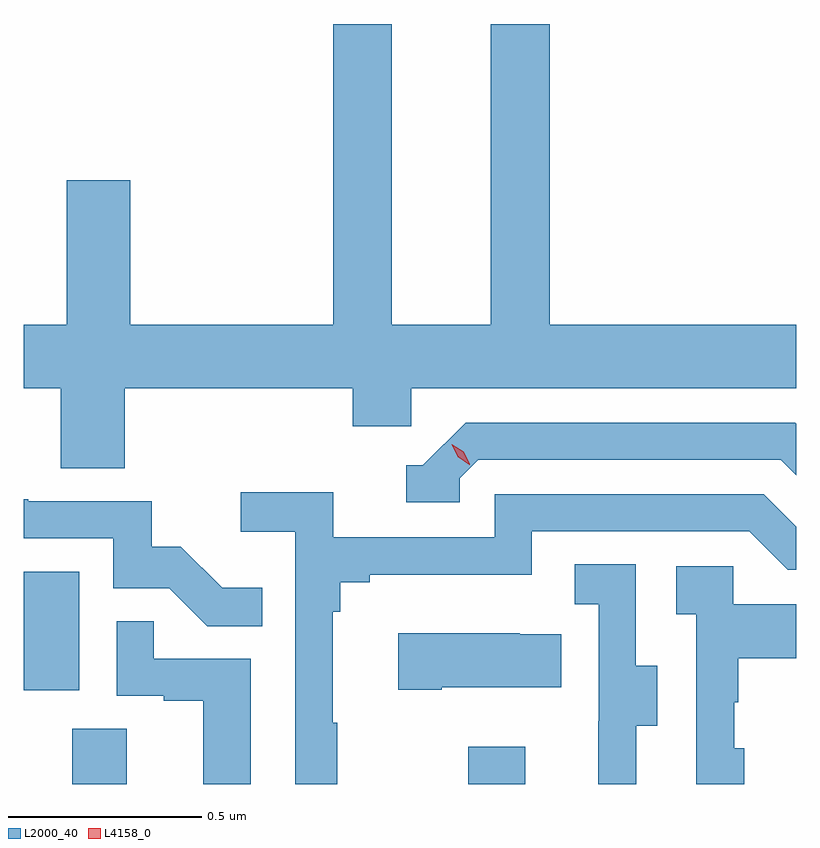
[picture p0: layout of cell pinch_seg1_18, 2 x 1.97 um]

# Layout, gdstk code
import gdstk
lib = gdstk.Library(unit=1e-6, precision=1e-09)
def R(c, l, rs):  # rectangles x0, y0, x1, y1
    for r in rs: c.add(gdstk.rectangle(r[:2], r[2:], *l))
def P(c, l, *ps):  # polygons
    for p in ps: c.add(gdstk.Polygon(p, *l))
L2000_40 = (2000, 40)
L4158_0 = (4158, 0)

pinch_seg1_18 = lib.new_cell('pinch_seg1_18')
R(pinch_seg1_18, L2000_40, [(1142.045,577.347,1142.185,577.49), (1143.07,577.347,1143.217,577.444), (1141.919,577.59,1142.062,577.897)])
P(pinch_seg1_18, L2000_40, [(1142.18,578.372),(1142.771,578.372),(1142.771,578.274),(1142.922,578.274),(1142.922,578.372),(1143.919,578.372),(1143.919,578.536),(1143.281,578.536),(1143.281,579.315),(1143.128,579.315),(1143.128,578.536),(1142.872,578.536),(1142.872,579.315),(1142.72,579.315),(1142.72,578.536),(1142.194,578.536),(1142.194,578.911),(1142.03,578.911),(1142.03,578.536),(1141.919,578.536),(1141.919,578.372),(1142.015,578.372),(1142.015,578.164),(1142.18,578.164)],
  [(1143.048,578.139),(1143.096,578.187),(1143.879,578.187),(1143.919,578.147),(1143.919,578.28),(1143.916,578.283),(1143.063,578.283),(1142.952,578.172),(1142.909,578.172),(1142.909,578.076),(1143.048,578.076)],
  [(1142.731,577.505),(1142.719,577.505),(1142.719,577.793),(1142.738,577.793),(1142.738,577.87),(1142.815,577.87),(1142.815,577.889),(1143.234,577.889),(1143.234,578.001),(1143.798,578.001),(1143.897,577.902),(1143.919,577.902),(1143.919,578.013),(1143.835,578.097),(1143.138,578.097),(1143.138,577.986),(1142.72,577.986),(1142.72,578.102),(1142.481,578.102),(1142.481,578),(1142.622,578),(1142.622,577.347),(1142.731,577.347)],
  [(1142.537,577.855),(1142.433,577.855),(1142.326,577.962),(1142.25,577.962),(1142.25,578.079),(1141.931,578.079),(1141.931,578.084),(1141.919,578.084),(1141.919,577.983),(1142.151,577.983),(1142.151,577.854),(1142.296,577.854),(1142.394,577.756),(1142.537,577.756)],
  [(1143.505,577.498),(1143.559,577.498),(1143.559,577.653),(1143.504,577.653),(1143.504,577.916),(1143.345,577.916),(1143.345,577.813),(1143.408,577.813),(1143.408,577.509),(1143.407,577.509),(1143.407,577.347),(1143.505,577.347)],
  [(1143.784,577.44),(1143.759,577.44),(1143.759,577.559),(1143.769,577.559),(1143.769,577.673),(1143.919,577.673),(1143.919,577.813),(1143.756,577.813),(1143.756,577.911),(1143.609,577.911),(1143.609,577.787),(1143.66,577.787),(1143.66,577.347),(1143.784,577.347)],
  [(1142.506,577.671),(1142.255,577.671),(1142.255,577.769),(1142.16,577.769),(1142.16,577.575),(1142.281,577.575),(1142.281,577.563),(1142.384,577.563),(1142.384,577.347),(1142.506,577.347)],
  [(1143.001,577.598),(1143.311,577.598),(1143.311,577.735),(1143.203,577.735),(1143.203,577.738),(1142.889,577.738),(1142.889,577.591),(1143.001,577.591)])
P(pinch_seg1_18, L4158_0, [(1143.073,578.174),(1143.043,578.194),(1143.027,578.226),(1143.027,578.227),(1143.027,578.227),(1143.058,578.207),(1143.074,578.175),(1143.074,578.174)])

lib.write_gds('pinch_seg1_18.gds')
